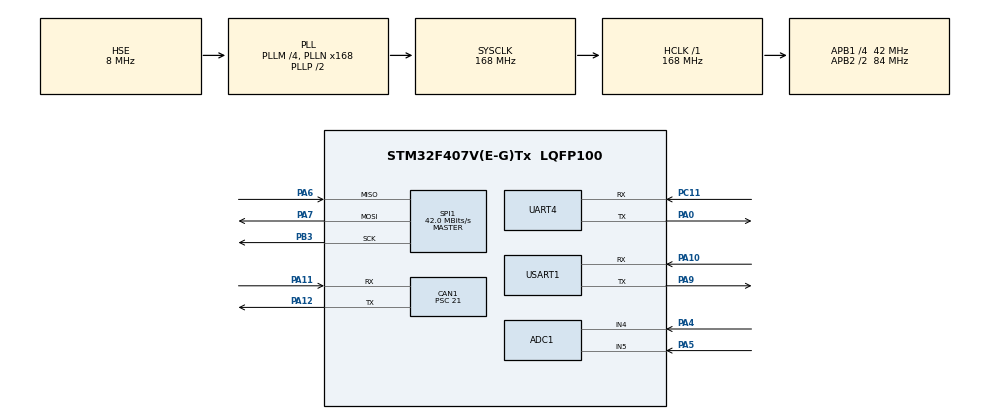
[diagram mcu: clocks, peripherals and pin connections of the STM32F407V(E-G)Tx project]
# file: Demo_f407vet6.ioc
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ADC1.Channel-7\#ChannelRegularConversion=ADC_CHANNEL_5
ADC1.Channel-8\#ChannelRegularConversion=ADC_CHANNEL_4
ADC1.ContinuousConvMode=ENABLE
ADC1.NbrOfConversion=2
ADC1.NbrOfConversionFlag=1
ADC1.Rank-7\#ChannelRegularConversion=1
ADC1.Rank-8\#ChannelRegularConversion=2
ADC1.SamplingTime-7\#ChannelRegularConversion=ADC_SAMPLETIME_3CYCLES
ADC1.SamplingTime-8\#ChannelRegularConversion=ADC_SAMPLETIME_3CYCLES
ADC1.master=1
CAN1.BS1=CAN_BS1_5TQ
CAN1.BS2=CAN_BS2_2TQ
CAN1.CalculateBaudRate=250000
CAN1.CalculateTimeBit=4000
CAN1.CalculateTimeQuantum=500.0
CAN1.Prescaler=21
FREERTOS.Queues01=command,2,char,0,Dynamic,NULL,NULL;adc1_ch5_Queue,4,float,0,Dynamic,NULL,NULL;adc2_ch4_Queue,4,float,0,Dynamic,NULL,NULL;speedLQueue,4,float,0,Dynamic,NULL,NULL;speedRQueue,4,float,0,Dynamic,NULL,NULL;speedL_ow,1,float,0,Dynamic,NULL,NULL;speedR_ow,1,float,0,Dynamic,NULL,NULL;adc4,1,uint8_t,0,Dynamic,NULL,NULL;adc3,1,uint8_t,0,Dynamic,NULL,NULL;adc1_ch5_ow,1,float,0,Dynamic,NULL,NULL;adc2_ch4_ow,1,float,0,Dynamic,NULL,NULL;ECUdata,1,uint8_t*,0,Dynamic,NULL,NULL;battery,1,uint8_t,0,Dynamic,NULL,NULL;six,4,float*,0,Dynamic,NULL,NULL;six_ow,1,float*,0,Dynamic,NULL,NULL
FREERTOS.Tasks01=GetCommand,0,128,StartGetCommand,Default,NULL,Dynamic,NULL,NULL;CANGet,0,4096,StartCANGet,Default,NULL,Dynamic,NULL,NULL;ADCGet,0,1024,StartADCGet,Default,NULL,Dynamic,NULL,NULL;toComputer,0,2048,Start_toComputer,Default,NULL,Dynamic,NULL,NULL;CANSend,0,2048,StartCANSend,Default,NULL,Dynamic,NULL,NULL
FREERTOS.configTOTAL_HEAP_SIZE=51200
Mcu.Family=STM32F4
Mcu.Name=STM32F407V(E-G)Tx
Mcu.Package=LQFP100
NVIC.ADC_IRQn=true\:5\:0\:false\:false\:true\:true\:true\:true\:true
NVIC.PriorityGroup=NVIC_PRIORITYGROUP_4
NVIC.TIM2_IRQn=true\:15\:0\:false\:false\:true\:false\:false\:true\:true
NVIC.TimeBase=TIM2_IRQn
NVIC.TimeBaseIP=TIM2
NVIC.USART1_IRQn=true\:3\:0\:true\:false\:true\:false\:true\:true\:true
PA0-WKUP.Mode=Asynchronous
PA0-WKUP.Signal=UART4_TX
PA10.Mode=Asynchronous
PA10.Signal=USART1_RX
PA11.Mode=CAN_Activate
PA11.Signal=CAN1_RX
PA12.Mode=CAN_Activate
PA12.Signal=CAN1_TX
PA4.Signal=ADCx_IN4
PA5.Signal=ADCx_IN5
PA6.Mode=Full_Duplex_Master
PA6.Signal=SPI1_MISO
PA7.Mode=Full_Duplex_Master
PA7.Signal=SPI1_MOSI
PA9.Mode=Asynchronous
PA9.Signal=USART1_TX
PB3.Mode=Full_Duplex_Master
PB3.Signal=SPI1_SCK
PC11.Mode=Asynchronous
PC11.Signal=UART4_RX
PC14-OSC32_IN.Mode=LSE-External-Oscillator
PC14-OSC32_IN.Signal=RCC_OSC32_IN
PC15-OSC32_OUT.Mode=LSE-External-Oscillator
PC15-OSC32_OUT.Signal=RCC_OSC32_OUT
PH0-OSC_IN.Mode=HSE-External-Oscillator
PH0-OSC_IN.Signal=RCC_OSC_IN
PH1-OSC_OUT.Mode=HSE-External-Oscillator
PH1-OSC_OUT.Signal=RCC_OSC_OUT
ProjectManager.HeapSize=0x200
ProjectManager.StackSize=0x400
ProjectManager.TargetToolchain=STM32CubeIDE
RCC.48MHZClocksFreq_Value=84000000
RCC.AHBFreq_Value=168000000
RCC.APB1CLKDivider=RCC_HCLK_DIV4
RCC.APB1Freq_Value=42000000
RCC.APB1TimFreq_Value=84000000
RCC.APB2CLKDivider=RCC_HCLK_DIV2
RCC.APB2Freq_Value=84000000
RCC.APB2TimFreq_Value=168000000
RCC.CortexFreq_Value=168000000
RCC.HCLKFreq_Value=168000000
RCC.HSE_VALUE=8000000
RCC.HSI_VALUE=16000000
RCC.PLLM=4
RCC.PLLN=168
RCC.PLLSourceVirtual=RCC_PLLSOURCE_HSE
RCC.SYSCLKFreq_VALUE=168000000
RCC.SYSCLKSource=RCC_SYSCLKSOURCE_PLLCLK
RCC.VCOOutputFreq_Value=336000000
SH.ADCx_IN4.0=ADC1_IN4,IN4
SH.ADCx_IN5.0=ADC1_IN5,IN5
SPI1.CalculateBaudRate=42.0 MBits/s
SPI1.Direction=SPI_DIRECTION_2LINES
SPI1.Mode=SPI_MODE_MASTER
SPI1.VirtualType=VM_MASTER
UART4.VirtualMode=Asynchronous
USART1.VirtualMode=VM_ASYNC
VP_FREERTOS_VS_CMSIS_V1.Mode=CMSIS_V1
VP_SYS_VS_tim2.Mode=TIM2
board=custom

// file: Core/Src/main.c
/* USER CODE BEGIN Header */
/**
  ******************************************************************************
  * @file           : main.c
  * @brief          : Main program body
  ******************************************************************************
  * @attention
  *
  * Copyright (c) 2023 STMicroelectronics.
  * All rights reserved.
  *
  * This software is licensed under terms that can be found in the LICENSE file
  * in the root directory of this software component.
  * If no LICENSE file comes with this software, it is provided AS-IS.
  *
  ******************************************************************************
  */
/* USER CODE END Header */
#include "main.h"
#include "cmsis_os.h"
#include "adc.h"
#include "can.h"
#include "spi.h"
#include "usart.h"
#include "gpio.h"

/* USER CODE BEGIN PTD */
char command_USART1;
char isGet;
/* USER CODE END PTD */

void SystemClock_Config(void);
void MX_FREERTOS_Init(void);

int main(void)
{

  /* MCU Configuration--------------------------------------------------------*/

  /* Reset of all peripherals, Initializes the Flash interface and the Systick. */
  HAL_Init();

  /* Configure the system clock */
  SystemClock_Config();

  /* Initialize all configured peripherals */
  MX_GPIO_Init();
  MX_USART1_UART_Init();
  MX_CAN1_Init();
  MX_UART4_Init();
  MX_ADC1_Init();
  MX_SPI1_Init();
  /* USER CODE BEGIN 2 */
  HAL_CAN_Start(&hcan1);
  CANFilter_Config0();
  CANFilter_Config1();
  HAL_UART_Receive_IT(&huart1, &command_USART1, 1);
  /* USER CODE END 2 */

  /* Call init function for freertos objects (in freertos.c) */
  MX_FREERTOS_Init();

  /* Start scheduler */
  osKernelStart();
  /* We should never get here as control is now taken by the scheduler */
  /* Infinite loop */
  while (1)
  {

  }
}

void SystemClock_Config(void)
{
  RCC_OscInitTypeDef RCC_OscInitStruct = {0};
  RCC_ClkInitTypeDef RCC_ClkInitStruct = {0};

  /** Configure the main internal regulator output voltage
  */
  __HAL_RCC_PWR_CLK_ENABLE();
  __HAL_PWR_VOLTAGESCALING_CONFIG(PWR_REGULATOR_VOLTAGE_SCALE1);

  /** Initializes the RCC Oscillators according to the specified parameters
  * in the RCC_OscInitTypeDef structure.
  */
  RCC_OscInitStruct.OscillatorType = RCC_OSCILLATORTYPE_HSE;
  RCC_OscInitStruct.HSEState = RCC_HSE_ON;
  RCC_OscInitStruct.PLL.PLLState = RCC_PLL_ON;
  RCC_OscInitStruct.PLL.PLLSource = RCC_PLLSOURCE_HSE;
  RCC_OscInitStruct.PLL.PLLM = 4;
  RCC_OscInitStruct.PLL.PLLN = 168;
  RCC_OscInitStruct.PLL.PLLP = RCC_PLLP_DIV2;
  RCC_OscInitStruct.PLL.PLLQ = 4;
  if (HAL_RCC_OscConfig(&RCC_OscInitStruct) != HAL_OK)
  {
    Error_Handler();
  }

  /** Initializes the CPU, AHB and APB buses clocks
  */
  RCC_ClkInitStruct.ClockType = RCC_CLOCKTYPE_HCLK|RCC_CLOCKTYPE_SYSCLK
                              |RCC_CLOCKTYPE_PCLK1|RCC_CLOCKTYPE_PCLK2;
  RCC_ClkInitStruct.SYSCLKSource = RCC_SYSCLKSOURCE_PLLCLK;
  RCC_ClkInitStruct.AHBCLKDivider = RCC_SYSCLK_DIV1;
  RCC_ClkInitStruct.APB1CLKDivider = RCC_HCLK_DIV4;
  RCC_ClkInitStruct.APB2CLKDivider = RCC_HCLK_DIV2;

  if (HAL_RCC_ClockConfig(&RCC_ClkInitStruct, FLASH_LATENCY_5) != HAL_OK)
  {
    Error_Handler();
  }
}

/* USER CODE BEGIN 4 */
void HAL_UART_RxCpltCallback(UART_HandleTypeDef *huart)
{
	if (huart->Instance == USART1)
	{

		isGet = command_USART1;
		printf("%c\n",command_USART1);
	}
	HAL_UART_Receive_IT(&huart1, &command_USART1, 1);
}
/* USER CODE END 4 */

void HAL_TIM_PeriodElapsedCallback(TIM_HandleTypeDef *htim)
{
  if (htim->Instance == TIM2) {
    HAL_IncTick();
  }
}

void Error_Handler(void)
{
  __disable_irq();
  while (1)
  {
  }
}

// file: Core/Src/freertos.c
/* USER CODE BEGIN Header */
/**
  ******************************************************************************
  * File Name          : freertos.c
  * Description        : Code for freertos applications
  ******************************************************************************
  * @attention
  *
  * Copyright (c) 2023 STMicroelectronics.
  * All rights reserved.
  *
  * This software is licensed under terms that can be found in the LICENSE file
  * in the root directory of this software component.
  * If no LICENSE file comes with this software, it is provided AS-IS.
  *
  ******************************************************************************
  */
/* USER CODE END Header */

#include "FreeRTOS.h"
#include "task.h"
#include "main.h"
#include "cmsis_os.h"

/* USER CODE BEGIN PTD */
extern char command_USART1;
extern char isGet;
/* USER CODE END PTD */

osThreadId GetCommandHandle;
osThreadId CANGetHandle;
osThreadId ADCGetHandle;
osThreadId toComputerHandle;
osThreadId CANSendHandle;
osMessageQId commandHandle;
osMessageQId adc1_ch5_QueueHandle;
osMessageQId adc2_ch4_QueueHandle;
osMessageQId speedLQueueHandle;
osMessageQId speedRQueueHandle;
osMessageQId speedL_owHandle;
osMessageQId speedR_owHandle;
osMessageQId adc4Handle;
osMessageQId adc3Handle;
osMessageQId adc1_ch5_owHandle;
osMessageQId adc2_ch4_owHandle;
osMessageQId ECUdataHandle;
osMessageQId batteryHandle;
osMessageQId sixHandle;
osMessageQId six_owHandle;

void StartGetCommand(void const * argument);
void StartCANGet(void const * argument);
void StartADCGet(void const * argument);
void Start_toComputer(void const * argument);
void StartCANSend(void const * argument);

void MX_FREERTOS_Init(void); /* (MISRA C 2004 rule 8.1) */

/* GetIdleTaskMemory prototype (linked to static allocation support) */
void vApplicationGetIdleTaskMemory( StaticTask_t **ppxIdleTaskTCBBuffer, StackType_t **ppxIdleTaskStackBuffer, uint32_t *pulIdleTaskStackSize );

/* USER CODE BEGIN GET_IDLE_TASK_MEMORY */
static StaticTask_t xIdleTaskTCBBuffer;
static StackType_t xIdleStack[configMINIMAL_STACK_SIZE];

void vApplicationGetIdleTaskMemory( StaticTask_t **ppxIdleTaskTCBBuffer, StackType_t **ppxIdleTaskStackBuffer, uint32_t *pulIdleTaskStackSize )
{
  *ppxIdleTaskTCBBuffer = &xIdleTaskTCBBuffer;
  *ppxIdleTaskStackBuffer = &xIdleStack[0];
  *pulIdleTaskStackSize = configMINIMAL_STACK_SIZE;
  /* place for user code */
}
/* USER CODE END GET_IDLE_TASK_MEMORY */

void MX_FREERTOS_Init(void) {

  /* Create the queue(s) */
  /* definition and creation of command */
  osMessageQDef(command, 2, char);
  commandHandle = osMessageCreate(osMessageQ(command), NULL);

  /* definition and creation of adc1_ch5_Queue */
  osMessageQDef(adc1_ch5_Queue, 4, float);
  adc1_ch5_QueueHandle = osMessageCreate(osMessageQ(adc1_ch5_Queue), NULL);

  /* definition and creation of adc2_ch4_Queue */
  osMessageQDef(adc2_ch4_Queue, 4, float);
  adc2_ch4_QueueHandle = osMessageCreate(osMessageQ(adc2_ch4_Queue), NULL);

  /* definition and creation of speedLQueue */
  osMessageQDef(speedLQueue, 4, float);
  speedLQueueHandle = osMessageCreate(osMessageQ(speedLQueue), NULL);

  /* definition and creation of speedRQueue */
  osMessageQDef(speedRQueue, 4, float);
  speedRQueueHandle = osMessageCreate(osMessageQ(speedRQueue), NULL);

  /* definition and creation of speedL_ow */
  osMessageQDef(speedL_ow, 1, float);
  speedL_owHandle = osMessageCreate(osMessageQ(speedL_ow), NULL);

  /* definition and creation of speedR_ow */
  osMessageQDef(speedR_ow, 1, float);
  speedR_owHandle = osMessageCreate(osMessageQ(speedR_ow), NULL);

  /* definition and creation of adc4 */
  osMessageQDef(adc4, 1, uint8_t);
  adc4Handle = osMessageCreate(osMessageQ(adc4), NULL);

  /* definition and creation of adc3 */
  osMessageQDef(adc3, 1, uint8_t);
  adc3Handle = osMessageCreate(osMessageQ(adc3), NULL);

  /* definition and creation of adc1_ch5_ow */
  osMessageQDef(adc1_ch5_ow, 1, float);
  adc1_ch5_owHandle = osMessageCreate(osMessageQ(adc1_ch5_ow), NULL);

  /* definition and creation of adc2_ch4_ow */
  osMessageQDef(adc2_ch4_ow, 1, float);
  adc2_ch4_owHandle = osMessageCreate(osMessageQ(adc2_ch4_ow), NULL);

  /* definition and creation of ECUdata */
  osMessageQDef(ECUdata, 1, uint8_t*);
  ECUdataHandle = osMessageCreate(osMessageQ(ECUdata), NULL);

  /* definition and creation of battery */
  osMessageQDef(battery, 1, uint8_t);
  batteryHandle = osMessageCreate(osMessageQ(battery), NULL);

  /* definition and creation of six */
  osMessageQDef(six, 4, float*);
  sixHandle = osMessageCreate(osMessageQ(six), NULL);

  /* definition and creation of six_ow */
  osMessageQDef(six_ow, 1, float*);
  six_owHandle = osMessageCreate(osMessageQ(six_ow), NULL);

  /* Create the thread(s) */
  /* definition and creation of GetCommand */
  osThreadDef(GetCommand, StartGetCommand, osPriorityNormal, 0, 128);
  GetCommandHandle = osThreadCreate(osThread(GetCommand), NULL);

  /* definition and creation of CANGet */
  osThreadDef(CANGet, StartCANGet, osPriorityNormal, 0, 4096);
  CANGetHandle = osThreadCreate(osThread(CANGet), NULL);

  /* definition and creation of ADCGet */
  osThreadDef(ADCGet, StartADCGet, osPriorityNormal, 0, 1024);
  ADCGetHandle = osThreadCreate(osThread(ADCGet), NULL);

  /* definition and creation of toComputer */
  osThreadDef(toComputer, Start_toComputer, osPriorityNormal, 0, 2048);
  toComputerHandle = osThreadCreate(osThread(toComputer), NULL);

  /* definition and creation of CANSend */
  osThreadDef(CANSend, StartCANSend, osPriorityNormal, 0, 2048);
  CANSendHandle = osThreadCreate(osThread(CANSend), NULL);

}

void StartGetCommand(void const * argument)
{
  /* USER CODE BEGIN StartGetCommand */
	char *mode = (char*)malloc(sizeof(char)*10);
  /* Infinite loop */
  for(;;)
  {
	if(isGet == 'y')
	{
		vTaskSuspend(CANGetHandle);
		isGet = 'n';
		UI();
		taskENTER_CRITICAL();
//		printf("%s mode\n",mode);
		taskEXIT_CRITICAL();
		osDelay(1);
	}
	else if(isGet == 'o')
	{
		vTaskResume(CANGetHandle);
		isGet = 'n';
	}
  }
  /* USER CODE END StartGetCommand */
}

void StartCANGet(void const * argument)
{
  /* USER CODE BEGIN StartCANGet */
	CAN_RxHeaderTypeDef RxMessage;
	float tempdata;
//	float ADC_data;
	uint8_t  data[8]={0};
	float SpeedLlast;
	float SpeedRlast;
	SpeedLlast = 1.0;
	SpeedRlast = 1.0;
	float *six_result;
	float *six_data = (float*)malloc(sizeof(float)*8);
	uint8_t *ECU_data = (uint8_t*)malloc(sizeof(uint8_t)*8);
  /* Infinite loop */
  for(;;)
  {
	  if(!HAL_CAN_GetRxMessage(&hcan1, CAN_RX_FIFO0, &RxMessage, data))
	  {
		  switch (RxMessage.StdId)
		  {
			  case 0x03://Left speed sensor
				tempdata = speedSensorL(data);
				if((int)(tempdata*10) > 1 && (int)(tempdata*10) != (int)(SpeedLlast*10))
				{
				  xQueueSendToBack(speedLQueueHandle,&tempdata,0);
				  xQueueOverwrite(speedL_owHandle,&tempdata);
				}
				SpeedLlast = tempdata;
				break;

			  case 0x02://Right speed sensor
				tempdata = speedSensorR(data);
				if((int)(tempdata*10) > 1 && (int)(tempdata*100) != (int)(SpeedRlast*100))
				{
				  xQueueSendToBack(speedRQueueHandle,&tempdata,0);
				  xQueueOverwrite(speedR_owHandle,&tempdata);
				}
				SpeedRlast = tempdata;
				break;
			  case 0x50://six-aix sensor
				if(data[1] == 0x51)
				{
					six_result = Six_axis_acceleration(data);
					for(uint8_t i=0;i<2;i++)
					{
						six_data[i] = six_result[i];
					}
					xQueueOverwrite(six_owHandle,&six_data);
					for(uint8_t i=0;i<2;i++)
					{
						six_data[i] = six_data[i]*120;
					}
					xQueueSendToBack(sixHandle,&six_data,0);
					free(six_result);
				}
				else if(data[1] == 0x52)
				{
					six_result = Six_axis_ang_acceleration(data);
					for(uint8_t i=2;i<5;i++)
					{
						six_data[i] = six_result[i-2];
					}
					xQueueOverwrite(six_owHandle,&six_data);
					xQueueSendToBack(sixHandle,&six_data,0);

					free(six_result);
				}
				else if(data[1] == 0x53)
				{
					six_result = Six_axis_angular(data);
					for(uint8_t i=5;i<8;i++)
					{
						six_data[i] = six_result[i-5];
					}
					xQueueOverwrite(six_owHandle,&six_data);
					xQueueSendToBack(sixHandle,&six_data,0);

					free(six_result);
				}
				break;

			  case 0x310://ECU data
				if(uxQueueMessagesWaiting(ECUdataHandle))
				{
					free(ECU_data);
				}
				for(uint8_t i=0;i<8;i++)
				{
					ECU_data[i] = data[i];
				}
				xQueueOverwrite(ECUdataHandle,&ECU_data);
				break;
			  case 0x353://ADCM2 data
				xQueueOverwrite(adc3Handle,&data[0]);
				xQueueOverwrite(adc4Handle,&data[2]);
				break;
			  default:
				  break;
		  }
	  }

	  RxMessage.StdId = 0;
	  if(RxMessage.ExtId == 0x186040F3)
	  {
		  printf("battery");
	  }
	  fflush(stdout);
	  RxMessage.ExtId = 0;

  }
  /* USER CODE END StartCANGet */
}

void StartADCGet(void const * argument)
{
  /* USER CODE BEGIN StartADCGet */
	float AD_Value;

  /* Infinite loop */
  for(;;)
  {
//	  temp_adc_value = GET_ADC_AVERAGE(hadc1,ADC_CHANNEL_5,20);
	  AD_Value = GET_ADC_AVERAGE(hadc1,ADC_CHANNEL_5,10) * 100  * 3.3/4096;
	  xQueueSendToBack(adc1_ch5_QueueHandle,&AD_Value,0);
	  xQueueOverwrite(adc1_ch5_owHandle,&AD_Value);

//	  temp_adc_value = GET_ADC_AVERAGE(hadc1,ADC_CHANNEL_4,20);
	  AD_Value = GET_ADC_AVERAGE(hadc1,ADC_CHANNEL_4,10) * 100  * 3.3/4096;
	  xQueueSendToBack(adc2_ch4_QueueHandle,&AD_Value,0);
	  xQueueOverwrite(adc2_ch4_owHandle,&AD_Value);

  }
  /* USER CODE END StartADCGet */
}

void Start_toComputer(void const * argument)
{
  /* USER CODE BEGIN Start_toComputer */
	float num;
	float num2;
	uint8_t ADC_data;
	uint8_t *ECU_dataArray = (uint8_t *)malloc(sizeof(uint8_t) * 8);//�?要非常注意的是，必须使用动�?�分配函�?
	float *six;
  /* Infinite loop */
  for(;;)
  {
	  if(xQueueReceive(speedR_owHandle, &num, 0))
	  {
		  taskENTER_CRITICAL();
//  		  printf("SR %.2f\n",num);
		  taskEXIT_CRITICAL();
	  }
	  else if(xQueueReceive(speedL_owHandle, &num, 0))
	  {
		  taskENTER_CRITICAL();
//		  printf("SL %.2f\n",num);
		  taskEXIT_CRITICAL();
	  }
	  if(xQueueReceive(adc1_ch5_owHandle, &num, 0) && (xQueueReceive(adc2_ch4_owHandle, &num2, 0)))
	  {
		  taskENTER_CRITICAL();
//		  printf("ADCFL %.2f\nADCFR %.2f\n",num,num2);
		  taskEXIT_CRITICAL();
	  }
	  else
	  {

	  }
	  if(xQueueReceive(six_owHandle, &six, 0))
	  {
		  taskENTER_CRITICAL();
//		  printf("ax %d\n",(uint8_t)six[0]);
		  printf("ax %.2f\n",six[0]);
		  printf("ay %.2f\n",six[1]);
		  printf("Ox %.2f\n",six[2]);
		  printf("Oy %.2f\n",six[3]);
		  printf("Oz %.2f\n",six[4]);
		  printf("R  %.2f\n",six[5]);
		  printf("P  %.2f\n",six[6]);
		  printf("Y  %.2f\n",six[7]);
//		  free(six);//    此注释不可删。为�?么不可以释放six的内存？
		  taskEXIT_CRITICAL();
	  }

	  if(xQueueReceive(adc3Handle, &ADC_data, 0))
	  {
		  taskENTER_CRITICAL();
//		  printf("ADCBL %d\n",ADC_data);
		  taskEXIT_CRITICAL();
	  }
	  else if(xQueueReceive(adc4Handle, &ADC_data, 0))
	  {
		  taskENTER_CRITICAL();
//		  printf("ADCBR %d\n",ADC_data);
		  taskEXIT_CRITICAL();
	  }
	  if(xQueueReceive(ECUdataHandle, &ECU_dataArray, 0))
	  {
		  ECU_dataArray = (uint8_t *)malloc(sizeof(uint8_t) * 8);
		  taskENTER_CRITICAL();
		  printf("E %d",ECU_dataArray[0]);
//		  printf(" B %d",ECU_dataArray[1]);
//		  printf(" SFL %d",ECU_dataArray[2]);
//		  printf(" SFR %d",ECU_dataArray[3]);
//		  printf(" SBL %d",ECU_dataArray[4]);
//		  printf(" SBR %d",ECU_dataArray[5]);
//		  printf(" RL %d",ECU_dataArray[6]);
//		  printf(" RR %d\n",ECU_dataArray[7]);
		  taskEXIT_CRITICAL();
		  free(ECU_dataArray);
	  }
  }
  /* USER CODE END Start_toComputer */
}

void StartCANSend(void const * argument)
{
  /* USER CODE BEGIN StartCANSend */
	uint8_t data[8];
	uint8_t six_data[8];
  /* Infinite loop */
  for(;;)
  {
	pushDataToCan(&speedRQueueHandle,data,CAN_M1_DATA_A_LOC_SpeedL);
	pushDataToCan(&speedLQueueHandle,data,CAN_M1_DATA_A_LOC_SpeedR);
	pushDataToCan(&adc1_ch5_QueueHandle,data,CAN_M1_DATA_A_LOC_FLPressLow);
	pushDataToCan(&adc2_ch4_QueueHandle,data,CAN_M1_DATA_A_LOC_FRPressLow);
	taskENTER_CRITICAL();
	CAN1_Send_Test(CAN_M1_DATA_A_ID,data,8);
	taskEXIT_CRITICAL();
	vTaskDelay(5);

	pushDataToCan_six(&sixHandle,six_data);
	taskENTER_CRITICAL();
	CAN1_Send_Test(CAN_M1_DATA_A_SIX_ID,six_data,8);
	taskEXIT_CRITICAL();

	vTaskDelay(20);
  }
  /* USER CODE END StartCANSend */
}
